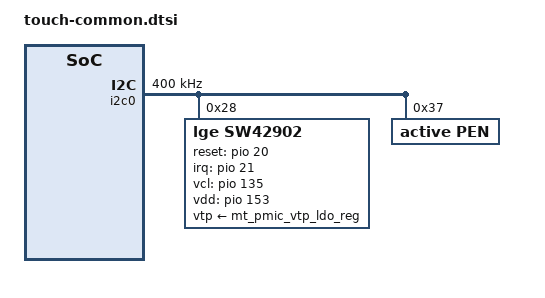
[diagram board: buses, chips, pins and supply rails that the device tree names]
/*
 * Mediatek's mt6885 SoC device tree source
 *
 * Copyright (C) 2016 MediaTek Inc.
 *
 * This program is free software; you can redistribute it and/or modify
 * it under the terms of the GNU General Public License version 2 as
 * published by the Free Software Foundation.
 *
 * This program is distributed in the hope that it will be useful,
 * but WITHOUT ANY WARRANTY; without even the implied warranty of
 * MERCHANTABILITY or FITNESS FOR A PARTICULAR PURPOSE.
 * See http://www.gnu.org/licenses/gpl-2.0.html for more details.
 */
/*End of this file, DO NOT ADD ANYTHING HERE*/

/* TOUCH start */

&mt6360_ldo {
	mt_pmic_vtp_ldo_reg: ldo2 {
		regulator-min-microvolt = <1800000>;
		regulator-max-microvolt = <1800000>;
	};
};

&touch {
	status = "disabled";
};

&i2c0 {

	clock-frequency = <400000>;

	sw49107@29 {
		compatible = "lge,sw49107";
		status = "disabled";

		reg = <0x29>;
		interrupt-parent = <&pio>;
		/* IRQF_ONESHOT			0x00002000 */
		/* IRQF_TRIGGER_FALLING		0x00000002 */
		/* IRQF_NO_SUSPEND		0x00004000 */
		interrupts = <21 0x2002 21 0>;
		irqflags = <0x2002>;
		reset-gpio = <&pio 20 0x00>;
		irq-gpio = <&pio 21 0x2002>;

		pinctrl-names = "touch_pin_active","touch_pin_sleep";	/*Touch GPIO pin name setting*/
		pinctrl-0 = <&ctp_ts_int_active &ctp_ts_reset_active>;		/*Touch GPIO pin active setting*/
		pinctrl-1 = <&ctp_ts_int_suspend &ctp_ts_reset_suspend>;	/*Touch GPIO pin suspend setting*/

		/* Caps */
		max_x = <1079>;
		max_y = <2159>;
		max_pressure = <0xff>;
		max_width = <15>;
		max_orientation = <90>;
		max_id = <10>;
		hw_reset_delay = <210>;
		sw_reset_delay = <90>;

		/* Role */
		use_lpwg = <1>;
		use_lpwg_test = <1>;
		hide_coordinate = <0>;

		/* firmware */
		use_fw_upgrade = <1>;
		use_firmware = <0>;
		fw_image = "touch/cayman2/L1W62Cayman2_V1_01.img";
		panel_spec = "touch/cayman2/cayman2_limit.txt";
		panel_spec_mfts_folder = "touch/cayman2/cayman2_limit_mfts.txt";

		/* Performance Test */
		test_jig_size = <6>;
		use_perf_test = <1>;
		test_delay = <8>;
		test_pressure = <50>;
		test_width = <100>;
		click_test_x = <135>;
		click_test_y = <526>;
		v_drag_test_x = <108>;
		v_drag_test_start_y = <1388>;
		v_drag_test_end_y = <771>;
		h_drag_test_start_x = <848>;
		h_drag_test_end_x = <231>;
		h_drag_test_y = <1512>;
	};

	sw42902@28 {
		compatible = "lge,sw42902";
		reg = <0x28>;
		status = "ok";

		interrupt-parent = <&pio>;
		/* IRQF_ONESHOT			0x00002000 */
		/* IRQF_TRIGGER_FALLING		0x00000002 */
		/* IRQF_NO_SUSPEND		0x00004000 */
		interrupts = <21 0x2002 21 0>;
		irqflags = <0x2002>;
		reset-gpio = <&pio 20 0x00>;
		irq-gpio = <&pio 21 0x2002>;

		vcl-gpio = <&pio 135 0x00>; //power
		vdd-gpio = <&pio 153 0x00>; //i2c

		vtp-supply = <&mt_pmic_vtp_ldo_reg>;

		pinctrl-names = "touch_pin_active","touch_pin_sleep";	/*Touch GPIO pin name setting*/
		pinctrl-0 = <&ctp_ts_int_active &ctp_ts_reset_active>;		/*Touch GPIO pin active setting*/
		pinctrl-1 = <&ctp_ts_int_suspend &ctp_ts_reset_suspend>;	/*Touch GPIO pin suspend setting*/

		/* caps */
		max_x = <1080>;
		max_y = <2460>;
		max_pressure = <0xff>;
		max_width_major = <2460>;
		max_width_minor = <2460>;
		max_orientation = <90>;
		max_id = <10>;
		hw_reset_delay = <90>;
		sw_reset_delay = <10>;

		/* role */
		use_lpwg = <1>;
		use_lpwg_test = <1>;
		hide_coordinate = <1>;
		use_activepen_status = <1>;
		use_film_status = <1>;

		/* firmware */
		fw_image = "touch/mcaymanlm/B3W68CAYMAN_3_39.img",
			   "touch/mcaymanlm/B3W68DS3_0_35.img";

		panel_spec = "touch/mcaymanlm/cayman_sw42902_limit.txt";
		panel_spec_mfts_folder = "touch/mcaymanlm/cayman_sw42902_limit.txt";

		/* asc */
		use_asc = <0>;
		low_delta_thres = <350>;
		high_delta_thres = <600>;
		max_delta_cnt = <2>;

		/* Performance Test */
		use_perf_test = <1>;
		test_delay = <8>;
		test_pressure = <50>;
		test_width = <100>;
		click_test_x = <180>;
		click_test_y = <760>;
		v_drag_test_x = <144>;
		v_drag_test_start_y = <2003>;
		v_drag_test_end_y = <1116>;
		h_drag_test_start_x = <1163>;
		h_drag_test_end_x = <276>;
		h_drag_test_y = <2184>;
	};

	/* Temp Slave Address */
	active@37 {
		compatible = "active,pen";
		status = "ok";
		reg = <0x37>;
	};
};

&pio {
	ctp_pins_default: eintdefault {
	};
	ctp_ts_int_active: int_active {
		pins_cmd_dat {
			pinmux = <PINMUX_GPIO21__FUNC_GPIO21>;
			slew-rate = <0>;
			bias-pull-up = <11>;
		};
	};
	ctp_ts_reset_active: reset_active {
		pins_cmd_dat {
			pinmux = <PINMUX_GPIO20__FUNC_GPIO20>;
			slew-rate = <1>;
			output-high;
		};
	};
	ctp_ts_int_suspend: int_suspend {
		pins_cmd_dat {
			pinmux = <PINMUX_GPIO21__FUNC_GPIO21>;
			slew-rate = <1>;
			output-low;
		};
	};
	ctp_ts_reset_suspend: reset_suspend {
		pins_cmd_dat {
			pinmux = <PINMUX_GPIO20__FUNC_GPIO20>;
			slew-rate = <1>;
			output-low;
		};
	};
};
/* TOUCH end */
